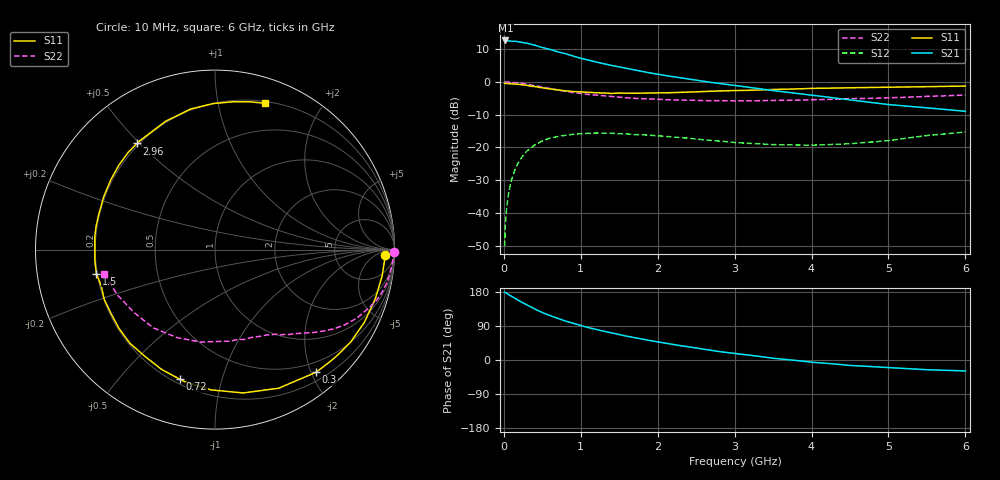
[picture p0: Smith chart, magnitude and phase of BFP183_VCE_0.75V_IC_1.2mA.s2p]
! Infineon Technologies  Discrete & RF Semiconductors
! BFP183
! VCE = 0.75V,  IC =  1.2 mA
! Common Emitter S-Parameters:  Jan 2016
# GHz  S  MA  R  50
!  f  S11  S21  S12  S22
! GHz  MAG  ANG  MAG  ANG  MAG  ANG  MAG  ANG
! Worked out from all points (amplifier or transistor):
!   210 points, 10 MHz to 6 GHz, reference 50 ohm
!   highest |S21| = 12.6 dB at 20 MHz (marker M1)
!   |S21| within 3 dB of that: start of sweep to 637.2 MHz
!   unconditionally stable (mu >= 1): 2.254 GHz to end of sweep
!   at 185 MHz: K = 0.09, MSG = 18.5 dB, |S12| = -24.8 dB
!   at 1.52 GHz: K = 0.65, MSG = 10.2 dB, |S12| = -15.8 dB
!   at 6 GHz: K = 1.22, MAG = 0.3 dB, |S12| = -15.3 dB
!   S11 on the Smith chart (normalised r, x): 10 MHz: 29, -16; 300 MHz: 0.33, -2.08; 720 MHz: 0.23, -0.74; 1.5 GHz: 0.20, -0.10; 2.96 GHz: 0.19, +0.49; 6 GHz: 0.22, +1.38
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0.01  0.949 -1.7  4.219 179.1  0.0031 86.8  0.9997 -0.7
0.02  0.9467 -3.7  4.285 178.2  0.0066 89.1  0.9904 -1.4
0.05  0.9429 -8.9  4.265 173.9  0.0159 84.8  0.9929 -3.5
0.1  0.934 -17.3  4.165 168.0  0.032 78.6  0.9849 -7.2
0.15  0.9256 -25.9  4.171 161.9  0.0473 74.0  0.976 -10.8
0.2  0.915 -34.3  4.078 156.1  0.0618 69.4  0.9612 -14.1
0.3  0.8855 -50.5  3.9 145.4  0.0877 60.4  0.9218 -20.2
0.4  0.85 -65.3  3.641 134.6  0.1088 51.5  0.8783 -25.7
0.5  0.8139 -78.9  3.344 125.2  0.1253 44.1  0.8337 -30.3
0.6  0.782 -91.6  3.137 117.2  0.1381 37.7  0.7922 -34.0
0.72  0.7482 -105.1  2.835 108.5  0.148 30.8  0.7439 -37.8
0.86  0.7173 -119.4  2.558 99.3  0.1561 24.0  0.6989 -41.5
1.02  0.7013 -133.9  2.264 89.8  0.162 17.5  0.6599 -45.1
1.2  0.6802 -148.2  2.007 80.7  0.1654 11.0  0.6272 -49.0
1.5  0.6742 -168.6  1.692 66.8  0.1615 3.4  0.5807 -54.3
2.02  0.6766 163.0  1.293 47.1  0.1499 -5.4  0.5411 -63.5
2.42  0.6997 145.4  1.093 34.0  0.137 -9.5  0.5257 -72.2
2.96  0.7338 126.3  0.895 18.1  0.1198 -9.6  0.513 -84.7
3.1  0.739 122.1  0.851 14.9  0.1167 -8.6  0.5121 -88.3
4.1  0.7969 98.0  0.607 -7.3  0.1088 3.6  0.5353 -116.4
5.1  0.8315 82.0  0.44 -21.3  0.1315 15.2  0.5751 -145.1
6  0.862 71.0  0.355 -28.9  0.1713 13.2  0.6308 -167.8
